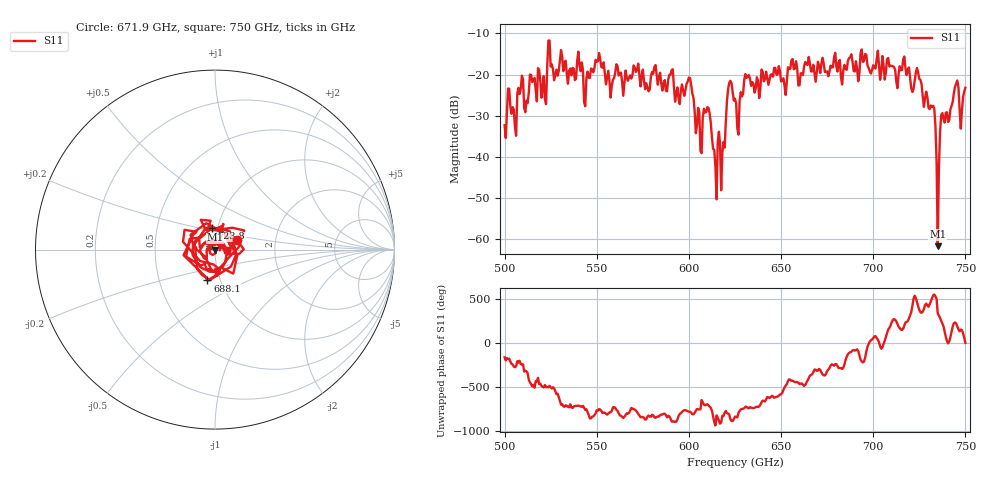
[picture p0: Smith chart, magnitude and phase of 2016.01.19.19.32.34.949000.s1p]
!Created with skrf (http://scikit-rf.org).
# GHz S RI R 50.0
!freq ReS11 ImS11
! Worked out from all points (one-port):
!   401 points, 500 GHz to 750 GHz, reference 50 ohm
!   lowest |S11| = -61.6 dB at 735 GHz (marker M1), VSWR 1.00, Z = 50.1 - j0.0402 ohm
!   |S11| at or under -10 dB: start of sweep to end of sweep
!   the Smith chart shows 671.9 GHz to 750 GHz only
!   S11 on the Smith chart (normalised r, x): 671.9 GHz: 1.27, +0.14; 688.1 GHz: 0.87, -0.31; 723.8 GHz: 0.94, +0.23; 750 GHz: 1.15, -0.01
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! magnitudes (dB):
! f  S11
! 500 GHz  -32.3
! 508.8 GHz  -23.5
! 521.2 GHz  -20.3
! 524.4 GHz  -11.7
! 531.2 GHz  -15.7
! 544.4 GHz  -20.9
! 550.6 GHz  -16.7
! 562.5 GHz  -19.7
! 590 GHz  -20.1
! 593.8 GHz  -23.1
! 600 GHz  -20.7
! 605.6 GHz  -29.0
! 610 GHz  -27.9
! 614.4 GHz  -42.3
! 618.8 GHz  -36.3
! 621.9 GHz  -22.0
! 625 GHz  -25.8
! 631.2 GHz  -20.8
! 656.2 GHz  -16.2
! 671.9 GHz  -17.4
! 687.5 GHz  -15.8
! 688.1 GHz  -15.1
! 718.8 GHz  -18.7
! 723.8 GHz  -18.4
! 732.5 GHz  -27.5
! 735 GHz  -61.6
! 738.1 GHz  -30.8
! 750 GHz  -23.2
